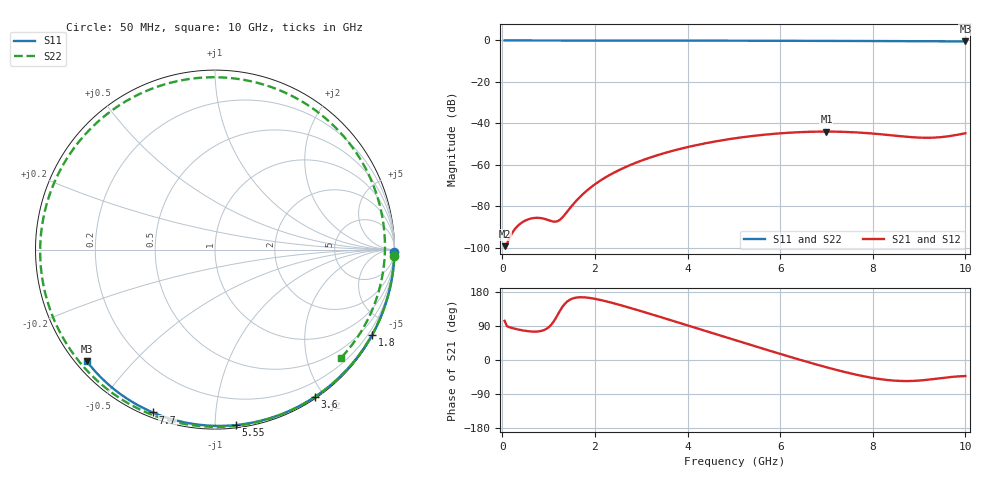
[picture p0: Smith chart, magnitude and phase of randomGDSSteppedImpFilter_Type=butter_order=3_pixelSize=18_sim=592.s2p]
! freq	dB(S11)	phase(S11)	dB(S12)	phase(S12)
!  dB(S21)	phase(S21)	dB(S22)	phase(S22)
!S-par simulation data
#  GHz  S  DB  R 50
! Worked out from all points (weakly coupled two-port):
!   200 points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, 50 MHz to 10 GHz, reference 50 ohm
!   highest |S21| = -43.97 dB at 7 GHz (marker M1); lowest = -99.3 dB at 50 MHz (marker M2)
!   lowest |S11| = -0.5 dB at 10 GHz (marker M3), VSWR 36.93, Z = 1.54 - j18.7 ohm
!   |S11| at or under -10 dB: nowhere
!   |S22| runs from -0.7 to 0.0 dB; largest |S21 - S12| = 0
!   S11 on the Smith chart (normalised r, x): 50 MHz: open; 1.8 GHz: 0.03, -3.93; 3.6 GHz: 0.02, -1.89; 5.55 GHz: 0.02, -1.13; 7.7 GHz: 0.02, -0.69; 10 GHz: 0.03, -0.37
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0.05  -0.00 -0.8  -99.26 103.5  -99.26 103.5  -0.00 -2.2
0.7  -0.01 -11.2  -85.63 74.9  -85.63 74.9  -0.04 -30.2
1.1  -0.02 -17.6  -87.37 99.8  -87.37 99.8  -0.06 -47.1
1.5  -0.03 -23.9  -79.86 161.5  -79.86 161.5  -0.08 -63.6
1.75  -0.04 -27.8  -73.94 165.5  -73.94 165.5  -0.09 -73.6
1.8  -0.04 -28.5  -72.94 165.0  -72.94 165.0  -0.09 -75.6
2.15  -0.04 -34.0  -67.15 157.5  -67.15 157.5  -0.11 -89.4
2.55  -0.05 -40.1  -62.24 144.8  -62.24 144.8  -0.13 -104.7
3.4  -0.07 -52.8  -55.02 114.0  -55.02 114.0  -0.16 -136.3
3.6  -0.08 -55.7  -53.72 106.5  -53.72 106.5  -0.17 -143.5
4.35  -0.09 -66.5  -49.77 78.1  -49.77 78.1  -0.21 -170.7
5.05  -0.12 -76.3  -47.12 51.6  -47.12 51.6  -0.25 163.5
5.55  -0.14 -83.1  -45.73 32.8  -45.73 32.8  -0.28 144.5
6.15  -0.16 -91.1  -44.58 10.6  -44.58 10.6  -0.32 121.0
6.7  -0.19 -98.2  -44.04 -9.0  -44.04 -9.0  -0.34 98.5
7  -0.21 -102.1  -43.97 -19.2  -43.97 -19.2  -0.36 86.0
7.7  -0.25 -110.9  -44.44 -40.3  -44.44 -40.3  -0.38 56.2
8.35  -0.30 -118.9  -45.64 -53.3  -45.64 -53.3  -0.42 28.4
8.75  -0.34 -123.8  -46.50 -55.6  -46.50 -55.6  -0.45 11.4
9.15  -0.38 -128.6  -46.96 -52.5  -46.96 -52.5  -0.49 -5.3
9.55  -0.42 -133.5  -46.46 -46.6  -46.46 -46.6  -0.56 -21.9
10  -0.47 -138.9  -44.76 -42.4  -44.76 -42.4  -0.68 -40.6
